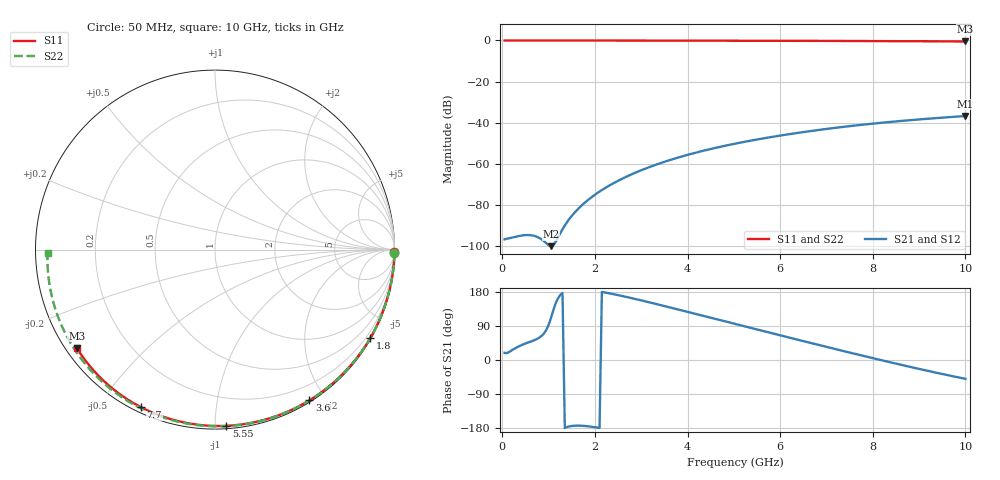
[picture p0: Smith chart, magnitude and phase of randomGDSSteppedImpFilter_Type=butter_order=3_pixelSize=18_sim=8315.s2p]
! freq	dB(S11)	phase(S11)	dB(S12)	phase(S12)
!  dB(S21)	phase(S21)	dB(S22)	phase(S22)
!S-par simulation data
#  GHz  S  DB  R 50
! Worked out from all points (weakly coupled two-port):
!   200 points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, 50 MHz to 10 GHz, reference 50 ohm
!   highest |S21| = -36.76 dB at 10 GHz (marker M1); lowest = -100.1 dB at 1.05 GHz (marker M2)
!   lowest |S11| = -0.5 dB at 10 GHz (marker M3), VSWR 35.44, Z = 1.55 - j16 ohm
!   |S11| at or under -10 dB: nowhere
!   |S22| runs from -0.6 to 0.0 dB; largest |S21 - S12| = 0
!   S11 on the Smith chart (normalised r, x): 50 MHz: open; 1.8 GHz: 0.03, -3.77; 3.6 GHz: 0.02, -1.81; 5.55 GHz: 0.02, -1.07; 7.7 GHz: 0.02, -0.64; 10 GHz: 0.03, -0.32
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0.05  -0.00 -0.8  -96.74 18.9  -96.74 18.9  -0.00 -1.0
0.55  -0.01 -9.2  -94.65 45.8  -94.65 45.8  -0.01 -11.0
1.05  -0.02 -17.5  -100.07 110.3  -100.07 110.3  -0.03 -20.8
1.7  -0.04 -28.1  -80.55 -173.4  -80.55 -173.4  -0.04 -33.5
1.75  -0.04 -28.9  -79.52 -173.8  -79.52 -173.8  -0.04 -34.4
1.8  -0.04 -29.7  -78.54 -174.3  -78.54 -174.3  -0.04 -35.4
1.95  -0.04 -32.1  -75.87 -176.5  -75.87 -176.5  -0.05 -38.3
2.1  -0.04 -34.5  -73.50 -179.3  -73.50 -179.3  -0.05 -41.1
2.3  -0.05 -37.7  -70.72 176.2  -70.72 176.2  -0.06 -44.9
2.5  -0.05 -40.9  -68.26 171.2  -68.26 171.2  -0.06 -48.7
2.9  -0.06 -47.2  -64.06 160.2  -64.06 160.2  -0.07 -56.2
3.4  -0.07 -54.9  -59.79 145.5  -59.79 145.5  -0.09 -65.3
3.6  -0.08 -58.0  -58.31 139.4  -58.31 139.4  -0.09 -68.9
4.3  -0.10 -68.4  -53.88 117.7  -53.88 117.7  -0.12 -81.3
5.05  -0.12 -79.3  -50.10 94.3  -50.10 94.3  -0.15 -94.3
5.55  -0.14 -86.3  -47.98 78.9  -47.98 78.9  -0.17 -102.8
6.1  -0.17 -93.9  -45.91 62.0  -45.91 62.0  -0.20 -112.0
6.7  -0.20 -102.0  -43.94 43.7  -43.94 43.7  -0.24 -121.9
7.7  -0.26 -115.1  -41.17 13.7  -41.17 13.7  -0.32 -138.5
8.35  -0.32 -123.5  -39.69 -5.3  -39.69 -5.3  -0.39 -149.4
9.2  -0.40 -134.3  -38.05 -29.0  -38.05 -29.0  -0.49 -164.1
10  -0.49 -144.5  -36.76 -49.7  -36.76 -49.7  -0.60 -178.8
